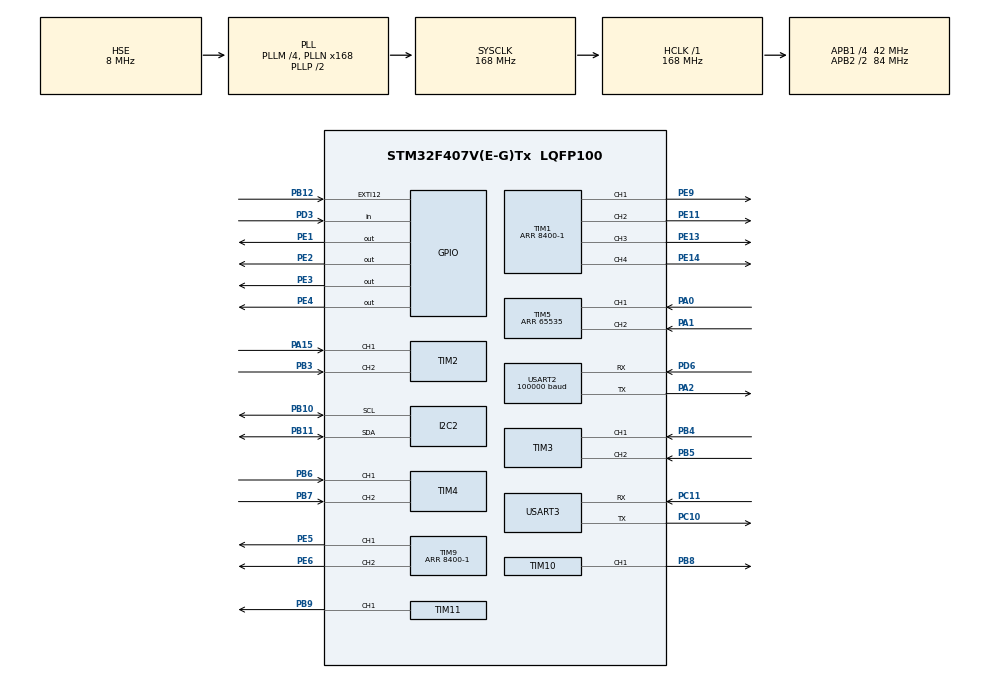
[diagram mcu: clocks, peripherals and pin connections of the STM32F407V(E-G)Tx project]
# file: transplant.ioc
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Mcu.Family=STM32F4
Mcu.Name=STM32F407V(E-G)Tx
Mcu.Package=LQFP100
NVIC.EXTI15_10_IRQn=true\:0\:0\:false\:false\:true\:true\:true\:true
NVIC.PriorityGroup=NVIC_PRIORITYGROUP_4
NVIC.TIM6_DAC_IRQn=true\:0\:0\:false\:false\:true\:true\:true\:true
NVIC.USART2_IRQn=true\:0\:0\:false\:false\:true\:true\:true\:true
PA0-WKUP.Signal=S_TIM5_CH1
PA1.Signal=S_TIM5_CH2
PA13.Mode=Serial_Wire
PA13.Signal=SYS_JTMS-SWDIO
PA14.Mode=Serial_Wire
PA14.Signal=SYS_JTCK-SWCLK
PA15.Signal=S_TIM2_CH1_ETR
PA2.Mode=Asynchronous
PA2.Signal=USART2_TX
PB10.Mode=I2C
PB10.Signal=I2C2_SCL
PB11.Mode=I2C
PB11.Signal=I2C2_SDA
PB12.Signal=GPXTI12
PB3.Signal=S_TIM2_CH2
PB4.Signal=S_TIM3_CH1
PB5.Signal=S_TIM3_CH2
PB6.Signal=S_TIM4_CH1
PB7.Signal=S_TIM4_CH2
PB8.Signal=S_TIM10_CH1
PB9.Signal=S_TIM11_CH1
PC10.Mode=Asynchronous
PC10.Signal=USART3_TX
PC11.Mode=Asynchronous
PC11.Signal=USART3_RX
PD3.Signal=GPIO_Input
PD6.Mode=Asynchronous
PD6.Signal=USART2_RX
PE1.PinState=GPIO_PIN_SET
PE1.Signal=GPIO_Output
PE11.Signal=S_TIM1_CH2
PE13.Signal=S_TIM1_CH3
PE14.Signal=S_TIM1_CH4
PE2.PinState=GPIO_PIN_SET
PE2.Signal=GPIO_Output
PE3.PinState=GPIO_PIN_SET
PE3.Signal=GPIO_Output
PE4.PinState=GPIO_PIN_SET
PE4.Signal=GPIO_Output
PE5.Signal=S_TIM9_CH1
PE6.Signal=S_TIM9_CH2
PE9.Signal=S_TIM1_CH1
PH0-OSC_IN.Mode=HSE-External-Oscillator
PH0-OSC_IN.Signal=RCC_OSC_IN
PH1-OSC_OUT.Mode=HSE-External-Oscillator
PH1-OSC_OUT.Signal=RCC_OSC_OUT
ProjectManager.HeapSize=0x200
ProjectManager.StackSize=0x400
ProjectManager.TargetToolchain=CMake
RCC.48MHZClocksFreq_Value=84000000
RCC.AHBFreq_Value=168000000
RCC.APB1CLKDivider=RCC_HCLK_DIV4
RCC.APB1Freq_Value=42000000
RCC.APB1TimFreq_Value=84000000
RCC.APB2CLKDivider=RCC_HCLK_DIV2
RCC.APB2Freq_Value=84000000
RCC.APB2TimFreq_Value=168000000
RCC.CortexFreq_Value=168000000
RCC.HCLKFreq_Value=168000000
RCC.HSE_VALUE=8000000
RCC.HSI_VALUE=16000000
RCC.LSE_VALUE=32768
RCC.PLLM=4
RCC.PLLN=168
RCC.PLLSourceVirtual=RCC_PLLSOURCE_HSE
RCC.SYSCLKFreq_VALUE=168000000
RCC.SYSCLKSource=RCC_SYSCLKSOURCE_PLLCLK
RCC.VCOOutputFreq_Value=336000000
SH.S_TIM10_CH1.0=TIM10_CH1,PWM Generation1 CH1
SH.S_TIM11_CH1.0=TIM11_CH1,PWM Generation1 CH1
SH.S_TIM1_CH1.0=TIM1_CH1,PWM Generation1 CH1
SH.S_TIM1_CH2.0=TIM1_CH2,PWM Generation2 CH2
SH.S_TIM1_CH3.0=TIM1_CH3,PWM Generation3 CH3
SH.S_TIM1_CH4.0=TIM1_CH4,PWM Generation4 CH4
SH.S_TIM2_CH1_ETR.0=TIM2_CH1,Encoder_Interface
SH.S_TIM2_CH2.0=TIM2_CH2,Encoder_Interface
SH.S_TIM3_CH1.0=TIM3_CH1,Encoder_Interface
SH.S_TIM3_CH2.0=TIM3_CH2,Encoder_Interface
SH.S_TIM4_CH1.0=TIM4_CH1,Encoder_Interface
SH.S_TIM4_CH2.0=TIM4_CH2,Encoder_Interface
SH.S_TIM5_CH1.0=TIM5_CH1,Encoder_Interface
SH.S_TIM5_CH2.0=TIM5_CH2,Encoder_Interface
SH.S_TIM9_CH1.0=TIM9_CH1,PWM Generation1 CH1
SH.S_TIM9_CH2.0=TIM9_CH2,PWM Generation2 CH2
TIM1.Channel-PWM\ Generation1\ CH1=TIM_CHANNEL_1
TIM1.Channel-PWM\ Generation2\ CH2=TIM_CHANNEL_2
TIM1.Channel-PWM\ Generation3\ CH3=TIM_CHANNEL_3
TIM1.Channel-PWM\ Generation4\ CH4=TIM_CHANNEL_4
TIM1.Period=8400-1
TIM10.Channel=TIM_CHANNEL_1
TIM10.Period=8400-1
TIM11.Channel=TIM_CHANNEL_1
TIM11.Period=8400-1
TIM2.EncoderMode=TIM_ENCODERMODE_TI12
TIM3.EncoderMode=TIM_ENCODERMODE_TI12
TIM4.EncoderMode=TIM_ENCODERMODE_TI12
TIM5.EncoderMode=TIM_ENCODERMODE_TI12
TIM5.Period=65535
TIM6.AutoReloadPreload=TIM_AUTORELOAD_PRELOAD_ENABLE
TIM6.Period=10000-1
TIM6.Prescaler=84-1
TIM9.Channel-PWM\ Generation1\ CH1=TIM_CHANNEL_1
TIM9.Channel-PWM\ Generation2\ CH2=TIM_CHANNEL_2
TIM9.Period=8400-1
USART2.BaudRate=100000
USART2.Parity=PARITY_EVEN
USART2.StopBits=STOPBITS_2
USART2.VirtualMode=VM_ASYNC
USART2.WordLength=WORDLENGTH_9B
USART3.VirtualMode=VM_ASYNC
VP_TIM10_VS_ClockSourceINT.Mode=Enable_Timer
VP_TIM11_VS_ClockSourceINT.Mode=Enable_Timer
VP_TIM1_VS_ClockSourceINT.Mode=Internal
VP_TIM6_VS_ClockSourceINT.Mode=Enable_Timer
VP_TIM9_VS_ClockSourceINT.Mode=Internal
board=custom

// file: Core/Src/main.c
/* USER CODE BEGIN Header */
/**
  ******************************************************************************
  * @file           : main.c
  * @brief          : Main program body
  ******************************************************************************
  * @attention
  *
  * Copyright (c) 2026 STMicroelectronics.
  * All rights reserved.
  *
  * This software is licensed under terms that can be found in the LICENSE file
  * in the root directory of this software component.
  * If no LICENSE file comes with this software, it is provided AS-IS.
  *
  ******************************************************************************
  */
/* USER CODE END Header */
#include "main.h"
#include "i2c.h"
#include "tim.h"
#include "usart.h"
#include "gpio.h"

/* USER CODE BEGIN Includes */
#include "mpu6050.h"
#include "motor.h"
#include "encoder.h"
#include "pid.h"
#include <stdio.h>
#include "yaw_pid.h"
#include "chassis.h"
#include "odometry.h"
#include "pos_pid.h"
/* USER CODE END Includes */

/* USER CODE BEGIN PV */
uint8_t RxTemp_2;           // 存放每次中断收到的1个字节
uint8_t sbus_start = 0;     // 状态机标志位：是否找到了0x0F
uint8_t sbus_buf_index = 0; // 当前存到了第几个字节
uint8_t sbus_buffer[25];    // 存放拼接好的25字节一帧数据
uint8_t sbus_new_cmd = 0;   // 标志位：是否收满了一整帧
uint16_t rc_channel[16];    // 存放解析后的通道数值

int32_t enc2_debug = 0;
int32_t enc3_debug = 0;
int32_t enc4_debug = 0;
int32_t enc5_debug = 0;

/* USER CODE END PV */

void SystemClock_Config(void);
/* USER CODE BEGIN PFP */
void SBUS_Parse(uint8_t *buff);
/* USER CODE END PFP */

int main(void)
{

  /* MCU Configuration--------------------------------------------------------*/

  /* Reset of all peripherals, Initializes the Flash interface and the Systick. */
  HAL_Init();

  /* Configure the system clock */
  SystemClock_Config();

  /* Initialize all configured peripherals */
  MX_GPIO_Init();
  MX_TIM2_Init();
  MX_TIM6_Init();
  MX_TIM1_Init();
  MX_TIM3_Init();
  MX_TIM4_Init();
  MX_TIM5_Init();
  MX_TIM9_Init();
  MX_TIM10_Init();
  MX_TIM11_Init();
  MX_USART3_UART_Init();
  MX_I2C2_Init();
  MX_USART2_UART_Init();
  /* USER CODE BEGIN 2 */
  Chassis_Init(&hi2c2);
  Motor_Init();
  Encoder_Init();

  int i;
  for (i = 0; i < 4; i++)
  {
    PID_Init(&motor_pid[i], 8.0f, 2.5f, 2500, 8400);
  }

  PosCtrl_Init(500.0f, 700.0f, 400.0f, 700.0f, 0.02f);
  YawCtrl_Init(50.0f, 0.0f, 0.0f, 100.0f, 700.0f);

  HAL_UART_Receive_IT(&huart2, &RxTemp_2, 1);
  HAL_TIM_Base_Start_IT(&htim6);
  uint8_t move_started = 0;
  /* USER CODE END 2 */

  /* Infinite loop */
  /* USER CODE BEGIN WHILE */
  while (1)
  {
    if (move_started == 0)
    {
        move_started = 1;
        Chassis_StartMoveWorld(1.6f, 0.0f, mpu6050.KalmanAngleZ);
    }

    if (HAL_GetTick() - chassis_last_tick >= 20)
    {
          chassis_last_tick = HAL_GetTick();

          Chassis_Update();
    }

    /*enc2_debug = (int32_t)__HAL_TIM_GET_COUNTER(&htim2);
    enc3_debug = (int32_t)__HAL_TIM_GET_COUNTER(&htim3);
    enc4_debug = (int32_t)__HAL_TIM_GET_COUNTER(&htim4);
    enc5_debug = (int32_t)__HAL_TIM_GET_COUNTER(&htim5);*/
    /* USER CODE END WHILE */

  }
}

void SystemClock_Config(void)
{
  RCC_OscInitTypeDef RCC_OscInitStruct = {0};
  RCC_ClkInitTypeDef RCC_ClkInitStruct = {0};

  /** Configure the main internal regulator output voltage
  */
  __HAL_RCC_PWR_CLK_ENABLE();
  __HAL_PWR_VOLTAGESCALING_CONFIG(PWR_REGULATOR_VOLTAGE_SCALE1);

  /** Initializes the RCC Oscillators according to the specified parameters
  * in the RCC_OscInitTypeDef structure.
  */
  RCC_OscInitStruct.OscillatorType = RCC_OSCILLATORTYPE_HSE;
  RCC_OscInitStruct.HSEState = RCC_HSE_ON;
  RCC_OscInitStruct.PLL.PLLState = RCC_PLL_ON;
  RCC_OscInitStruct.PLL.PLLSource = RCC_PLLSOURCE_HSE;
  RCC_OscInitStruct.PLL.PLLM = 4;
  RCC_OscInitStruct.PLL.PLLN = 168;
  RCC_OscInitStruct.PLL.PLLP = RCC_PLLP_DIV2;
  RCC_OscInitStruct.PLL.PLLQ = 4;
  if (HAL_RCC_OscConfig(&RCC_OscInitStruct) != HAL_OK)
  {
    Error_Handler();
  }

  /** Initializes the CPU, AHB and APB buses clocks
  */
  RCC_ClkInitStruct.ClockType = RCC_CLOCKTYPE_HCLK|RCC_CLOCKTYPE_SYSCLK
                              |RCC_CLOCKTYPE_PCLK1|RCC_CLOCKTYPE_PCLK2;
  RCC_ClkInitStruct.SYSCLKSource = RCC_SYSCLKSOURCE_PLLCLK;
  RCC_ClkInitStruct.AHBCLKDivider = RCC_SYSCLK_DIV1;
  RCC_ClkInitStruct.APB1CLKDivider = RCC_HCLK_DIV4;
  RCC_ClkInitStruct.APB2CLKDivider = RCC_HCLK_DIV2;

  if (HAL_RCC_ClockConfig(&RCC_ClkInitStruct, FLASH_LATENCY_5) != HAL_OK)
  {
    Error_Handler();
  }
}

/* USER CODE BEGIN 4 */
void HAL_UART_RxCpltCallback(UART_HandleTypeDef *huart)
{
    if (huart == &huart2)
    {
        if (sbus_start == 0 && RxTemp_2 == 0x0F)
        {
            sbus_start = 1;
            sbus_buf_index = 0;
            sbus_buffer[sbus_buf_index] = RxTemp_2;
        }
        else if (sbus_start == 1)
        {
            sbus_buf_index++;
            sbus_buffer[sbus_buf_index] = RxTemp_2;
            if (sbus_buf_index >= 24)
            {
                sbus_start = 0;

                uint8_t stop_byte = sbus_buffer[24];
                if (stop_byte == 0x00 || (stop_byte & 0x0F) == 0x04)
                {
                    sbus_new_cmd = 1;
                }

            }
        }
        HAL_UART_Receive_IT(&huart2, &RxTemp_2, 1);
    }
}

void SBUS_Parse(uint8_t *buff)
{
    rc_channel[0]  = ((buff[1]      | buff[2] << 8)  & 0x07FF); // CH1
    rc_channel[1]  = ((buff[2] >> 3 | buff[3] << 5)  & 0x07FF); // CH2
    rc_channel[2]  = ((buff[3] >> 6 | buff[4] << 2 | buff[5] << 10) & 0x07FF); // CH3
    rc_channel[3]  = ((buff[5] >> 1 | buff[6] << 7)  & 0x07FF); // CH4
}

int _write(int file, char *ptr, int len)
{
    HAL_UART_Transmit(&huart3, (uint8_t *)ptr, len, HAL_MAX_DELAY);
    return len;
}

void HAL_TIM_PeriodElapsedCallback(TIM_HandleTypeDef *htim)
{
    if (htim == &htim6)
    {
        Control();
    }
}

void HAL_GPIO_EXTI_Callback(uint16_t GPIO_Pin)
{
    if (GPIO_Pin == MPU_INT_Pin)
    {
        Chassis_OnImuReady();
    }
}
/* USER CODE END 4 */

void Error_Handler(void)
{
  __disable_irq();
  while (1)
  {
  }
}
